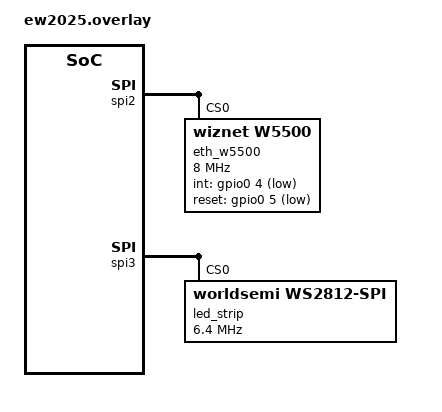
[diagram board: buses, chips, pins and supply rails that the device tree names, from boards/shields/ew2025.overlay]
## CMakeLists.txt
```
cmake_minimum_required(VERSION 3.20.0)

# ESP32-S3-DevkitC is the default board
set(BOARD
    "esp32s3_devkitc/esp32s3/procpu"
    CACHE
    STRING
    "Board for the Zephyr application"
)

# Disable -Werror in TF-PSA-Crypto (Zephyr 4.4+): upstream stubs trip
# -Wunused-parameter under the GCC 14.3 shipped with Zephyr SDK 1.0.1.
set(TF_PSA_CRYPTO_FATAL_WARNINGS OFF CACHE BOOL "" FORCE)

find_package(Zephyr REQUIRED HINTS $ENV{ZEPHYR_BASE})

project(mender-mcu-integration)

target_sources(app PRIVATE
    src/main.c
    src/utils/netup.c
    src/utils/certs.c
)

target_include_directories(app PUBLIC
    src
)

if(CONFIG_MENDER_APP_NOOP_UPDATE_MODULE MATCHES "y")
    target_sources(app PRIVATE src/modules/noop-update-module.c)
endif()

option(BUILD_INTEGRATION_TESTS "Enable integration tests" OFF)

if(BUILD_INTEGRATION_TESTS)
    target_compile_definitions(app PRIVATE BUILD_INTEGRATION_TESTS)
    target_include_directories(app PUBLIC tests/integration/src)
    target_sources(app PRIVATE tests/integration/src/modules/test-update-module.c)
    target_sources(app PRIVATE tests/integration/src/callbacks.c)
endif()

# Install certificates if a hosted Mender server is selected
if (CONFIG_MENDER_SERVER_HOST_US OR CONFIG_MENDER_SERVER_HOST_EU)
    # Links to certificates used for hosted Mender US
    if (CONFIG_MENDER_SERVER_HOST_US)
        set(PRIMARY_CERTIFICATE_LINK "https://docs.mender.io/releases/certs/AmazonRootCA1.der")
        set(PRIMARY_CERTIFICATE_SHA256 "8ecde6884f3d87b1125ba31ac3fcb13d7016de7f57cc904fe1cb97c6ae98196e")

        set(SECONDARY_CERTIFICATE_LINK "https://docs.mender.io/releases/certs/GoogleTrustServicesR4.der")
        set(SECONDARY_CERTIFICATE_SHA256 "349dfa4058c5e263123b398ae795573c4e1313c83fe68f93556cd5e8031b3c7d")
    # Links to certificates used for hosted Mender EU
    elseif (CONFIG_MENDER_SERVER_HOST_EU)
        set(PRIMARY_CERTIFICATE_LINK "https://docs.mender.io/releases/certs/isrgrootx1.der")
        set(PRIMARY_CERTIFICATE_SHA256 "96bcec06264976f37460779acf28c5a7cfe8a3c0aae11a8ffcee05c0bddf08c6")

        set(SECONDARY_CERTIFICATE_LINK "https://docs.mender.io/releases/certs/GoogleTrustServicesR4.der")
        set(SECONDARY_CERTIFICATE_SHA256 "349dfa4058c5e263123b398ae795573c4e1313c83fe68f93556cd5e8031b3c7d")
    endif()

    set(PRIMARY_CERTIFICATE "${CMAKE_CURRENT_BINARY_DIR}/PrimaryCertificate.cer")
    file(DOWNLOAD
        ${PRIMARY_CERTIFICATE_LINK} ${PRIMARY_CERTIFICATE}
        EXPECTED_HASH SHA256=${PRIMARY_CERTIFICATE_SHA256}
    )

    set(SECONDARY_CERTIFICATE "${CMAKE_CURRENT_BINARY_DIR}/SecondaryCertificate.cer")
    file(DOWNLOAD
        ${SECONDARY_CERTIFICATE_LINK} ${SECONDARY_CERTIFICATE}
        EXPECTED_HASH SHA256=${SECONDARY_CERTIFICATE_SHA256}
    )

elseif(CONFIG_MENDER_SERVER_HOST_ON_PREM)
    if (NOT CONFIG_MENDER_APP_SERVER_HOST_ON_PREM_CERT STREQUAL "")
        set(PRIMARY_CERTIFICATE "${CMAKE_CURRENT_SOURCE_DIR}/${CONFIG_MENDER_APP_SERVER_HOST_ON_PREM_CERT}")
    else()
        message(WARNING "CONFIG_MENDER_SERVER_HOST_ON_PREM without CONFIG_MENDER_APP_SERVER_HOST_ON_PREM_CERT results in a broken configuration")
    endif()
else()
    # This is an impossible configuration, MENDER_SERVER_HOST is a choice
    message(WARNING "Either CONFIG_MENDER_SERVER_HOST_US, CONFIG_MENDER_SERVER_HOST_EU or CONFIG_MENDER_SERVER_HOST_ON_PREM needs to be selected")
endif()

if (PRIMARY_CERTIFICATE)
    add_custom_target(certificate_one DEPENDS ${PRIMARY_CERTIFICATE})
    add_dependencies(app certificate_one)

    generate_inc_file_for_target(certificate_one
        ${PRIMARY_CERTIFICATE}
        "${ZEPHYR_BINARY_DIR}/include/generated/PrimaryCertificate.cer.inc"
    )
endif()

if (SECONDARY_CERTIFICATE)
    add_custom_target(certificate_two DEPENDS ${SECONDARY_CERTIFICATE})
    add_dependencies(app certificate_two)

    generate_inc_file_for_target(certificate_two
        ${SECONDARY_CERTIFICATE}
        "${ZEPHYR_BINARY_DIR}/include/generated/SecondaryCertificate.cer.inc"
    )
endif()

file(COPY_FILE "config-tls-mender.h" "${ZEPHYR_BINARY_DIR}/include/generated/config-tls-mender.h")
```

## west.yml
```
manifest:

  remotes:
    - name: zephyrproject-rtos
      url-base: https://github.com/zephyrproject-rtos
    - name: mender
      url-base: https://github.com/mendersoftware

  projects:
    - name: zephyr
      remote: zephyrproject-rtos
      revision: v4.4.0
      import:
        name-allowlist:
          - cmsis_6
          - mbedtls
          - mcuboot
          - hal_nxp
          - hal_nordic
          - hal_espressif
          - tf-psa-crypto
    - name: mender-mcu
      remote: mender
      revision: main
      path: modules/mender-mcu
      import: true

  self:
    path: mender-mcu-integration
```

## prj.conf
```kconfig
####################################
# Tenant Token - DO NOT COMMIT
####################################
CONFIG_MENDER_SERVER_TENANT_TOKEN="..."


####################################
# Mender MCU
####################################
CONFIG_MENDER_MCU_CLIENT=y
CONFIG_MENDER_LOG_LEVEL_INF=y
# Demo polling intervals
CONFIG_MENDER_CLIENT_UPDATE_POLL_INTERVAL=30
CONFIG_MENDER_CLIENT_INVENTORY_REFRESH_INTERVAL=60
CONFIG_MENDER_RETRY_ERROR_BACKOFF=5
CONFIG_MENDER_RETRY_ERROR_MAX_BACKOFF=15
# Mender Server selection - sets the Server URL and adds the certificates
CONFIG_MENDER_SERVER_HOST_US=y
# For easier demo, use partition with storage label from Devicetree
CONFIG_MENDER_STORAGE_PARTITION_STORAGE_PARTITION=y


####################################
# Mbed-TLS module configuration
#
# NOTE wrt Ciphersuite configuration for Hosted Mender:
# We use two certificates, one for API calls and one for the Artifacts download:
# -> Amazon Root CA 1 certificate with Signature Algorithm: sha256WithRSAEncryption
# -> Google Trust Services GTS Root R4 with Signature Algorithm: ecdsa-with-SHA384
####################################
CONFIG_MBEDTLS=y
# In Zephyr 4.3 MBEDTLS_USE_PSA_CRYPTO auto-enables when
# MBEDTLS_PSA_CRYPTO_C is on, which makes the prerequisite checks for
# ECDHE_* key exchanges look for PSA_WANT_ALG_ECDH instead of MBEDTLS_ECDH_C.
# Mender-MCU is still on the legacy mbedtls API path, so keep PSA off.
CONFIG_MBEDTLS_USE_PSA_CRYPTO=n
# mbedtls pk.c calls these helpers regardless of USE_PSA_CRYPTO; their
# declarations in psa_util_internal.h are guarded by this Kconfig.
CONFIG_PSA_WANT_KEY_TYPE_ECC_PUBLIC_KEY=y
CONFIG_MBEDTLS_KEY_EXCHANGE_ECDHE_PSK_ENABLED=y
CONFIG_MBEDTLS_KEY_EXCHANGE_ECDHE_RSA_ENABLED=y
CONFIG_MBEDTLS_KEY_EXCHANGE_ECDHE_ECDSA_ENABLED=y
CONFIG_MBEDTLS_ECDH_C=y
CONFIG_MBEDTLS_ECDSA_C=y
CONFIG_MBEDTLS_ECP_C=y
# TODO: SECP256R1 was used as a sane default for the autogenerated key feature. Can we remove
# and reuse instead SECP384R1 (already required for the Google cert)?
CONFIG_MBEDTLS_ECP_DP_SECP256R1_ENABLED=y
CONFIG_MBEDTLS_ECP_DP_SECP384R1_ENABLED=y
CONFIG_MBEDTLS_ECP_NIST_OPTIM=y
CONFIG_MBEDTLS_CIPHER_CCM_ENABLED=y
CONFIG_MBEDTLS_CIPHER_GCM_ENABLED=y
CONFIG_MBEDTLS_SHA384=y
CONFIG_MBEDTLS_GENPRIME_ENABLED=y
CONFIG_MBEDTLS_PEM_CERTIFICATE_FORMAT=y
CONFIG_MBEDTLS_SERVER_NAME_INDICATION=y
CONFIG_MBEDTLS_PK_WRITE_C=y
CONFIG_MBEDTLS_SSL_MAX_CONTENT_LEN=16384
CONFIG_MBEDTLS_ENABLE_HEAP=y
CONFIG_MBEDTLS_HEAP_SIZE=40960
CONFIG_MBEDTLS_ENTROPY_POLL_ZEPHYR=y
CONFIG_MBEDTLS_ENTROPY_C=y

# We need to use our own extension to the config file to limit the size of the
# TLS output buffer. See the config and/or MEN-7807 for details.
CONFIG_MBEDTLS_USER_CONFIG_ENABLE=y
CONFIG_MBEDTLS_USER_CONFIG_FILE="config-tls-mender.h"


####################################
# Zephyr OS general configuration
####################################
# Default is 1024
# https://docs.zephyrproject.org/latest/kconfig.html#CONFIG_MAIN_STACK_SIZE
CONFIG_MAIN_STACK_SIZE=2048
# Default is 1024
# https://docs.zephyrproject.org/latest/kconfig.html#CONFIG_SYSTEM_WORKQUEUE_STACK_SIZE
CONFIG_SYSTEM_WORKQUEUE_STACK_SIZE=4096
# Default is 4
# https://docs.zephyrproject.org/latest/kconfig.html#CONFIG_ZVFS_OPEN_MAX
CONFIG_ZVFS_OPEN_MAX=5

####################################
# Zephyr logging
####################################
CONFIG_LOG=y
CONFIG_LOG_BUFFER_SIZE=2048
# CONFIG_LOG_MODE_IMMEDIATE=y
CONFIG_LOG_MODE_DEFERRED=y
# flush oldest messages in the buffer; this will print the newest messages in case of buffer overflow
CONFIG_LOG_MODE_OVERFLOW=y
# speed up the logging; size of the executable the victim (use for testing only)
CONFIG_LOG_SPEED=y
# Direct dependency for LOG_OUTPUT_FORMAT_ISO8601_TIMESTAMP
CONFIG_POSIX_C_LANG_SUPPORT_R=y
# use ISO 8601 timestamp format in logs (required by the Mender Deployment Logs feature)
CONFIG_LOG_OUTPUT_FORMAT_ISO8601_TIMESTAMP=y

####################################
# Networking
####################################
# IP / DHCP
CONFIG_NET_IPV6=n
CONFIG_NET_IPV4=y
CONFIG_NET_DHCPV4=y
# Network event notifications
CONFIG_NET_MGMT=y
CONFIG_NET_MGMT_EVENT=y
CONFIG_NET_MGMT_EVENT_STACK_SIZE=2048
# Enable TLS
CONFIG_NET_SOCKETS_SOCKOPT_TLS=y
CONFIG_NET_SOCKETS_TLS_MAX_CONTEXTS=2
CONFIG_NET_MAX_CONN=16
# DNS configuration
CONFIG_DNS_RESOLVER_ADDITIONAL_BUF_CTR=5
CONFIG_DNS_RESOLVER_ADDITIONAL_QUERIES=2
CONFIG_DNS_RESOLVER_MAX_SERVERS=2
CONFIG_DNS_NUM_CONCUR_QUERIES=5
# Avoid timeouts before receiving SYN-ACK from peer at default value (3000)
CONFIG_NET_SOCKETS_CONNECT_TIMEOUT=5000

####################################
# Developer zone
####################################
# Coredumps
# https://docs.zephyrproject.org/latest/services/debugging/coredump.html
# CONFIG_DEBUG_COREDUMP=y
# CONFIG_DEBUG_COREDUMP_BACKEND_LOGGING=y
# CONFIG_DEBUG_COREDUMP_MEMORY_DUMP_LINKER_RAM=n
# CONFIG_DEBUG_COREDUMP_MEMORY_DUMP_MIN=y
# Asserts
# https://docs.zephyrproject.org/latest/kconfig.html#CONFIG_ASSERT_VERBOSE
CONFIG_ASSERT=y
# CONFIG_ASSERT_VERBOSE=y
# CONFIG_PICOLIBC_USE_MODULE=y
# CONFIG_PICOLIBC_ASSERT_VERBOSE=y
# Useful logs from networking subsystem
CONFIG_NET_LOG=y

# Let's prevent surprises caused by type mismatches and other similar things
# only causing compilation warnings, but potentially leading to fatal issues.
CONFIG_COMPILER_WARNINGS_AS_ERRORS=y

# When enabled it adds ~3k overhead and causes sys_reboot to fail
# because of stricter spinlock validation in Zephyr 4.2.0
CONFIG_SPIN_VALIDATE=n
```

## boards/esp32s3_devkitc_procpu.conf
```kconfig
CONFIG_NET_L2_ETHERNET=y
CONFIG_ESP32_WIFI_STA_AUTO_DHCPV4=y
CONFIG_ESP32_WIFI_STA_RECONNECT=y
CONFIG_ESP32_WIFI_STA_SCAN_ALL=y
CONFIG_WIFI=y
CONFIG_WIFI_LOG_LEVEL_INF=y
CONFIG_NET_DHCPV4_LOG_LEVEL_INF=y
CONFIG_LOG_MODE_IMMEDIATE=y

# Restore the default for Mender storage
# We set to use the storage label for the rest of the boards in this sample application,
# but for the ESP32S3 we do provide an overlay to use the mender label, which is what
# we recommend to users (and set as default in mender-mcu Kconfig)
CONFIG_MENDER_STORAGE_PARTITION_STORAGE_PARTITION=n
CONFIG_MENDER_STORAGE_PARTITION_MENDER_PARTITION=y
```

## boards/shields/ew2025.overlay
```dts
/* This overlay is based on ARCELI W5500 ETH,
 * changing the pinout for the WIZNet produced shield.
 *
 * See schematic at:
 * https://docs.wiznet.io/Product/Open-Source-Hardware/w5500_ethernet_shield#technical-reference
 */

#include <zephyr/dt-bindings/led/led.h>

&spi2 {
	status = "okay";

	eth_w5500: eth_w5500@0 {
        compatible = "wiznet,w5500";
		reg = <0x0>;
        spi-max-frequency = <8000000>;
		int-gpios = <&gpio0 4 GPIO_ACTIVE_LOW>;
		reset-gpios = <&gpio0 5 GPIO_ACTIVE_LOW>;

		zephyr-random-mac-address;

		/* MAC address is set at runtime from device ID */
		status = "okay";
	};
};

&spi3 {
	/* Workaround to support WS2812 driver */
	line-idle-low;
	status = "okay";

	led_strip: ws2812@0 {
		compatible = "worldsemi,ws2812-spi";
		status = "okay";

		reg = <0>;
		spi-max-frequency = <6400000>;

		chain-length = <64>;
		spi-cpha;
		spi-one-frame = <0xf0>;
		spi-zero-frame = <0xc0>;
		color-mapping = <LED_COLOR_ID_GREEN
							LED_COLOR_ID_RED
							LED_COLOR_ID_BLUE>;
	};
};

/ {
	aliases {
			led-strip = &led_strip;
	};
};
```

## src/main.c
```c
// Copyright 2024 Northern.tech AS
//
//    Licensed under the Apache License, Version 2.0 (the "License");
//    you may not use this file except in compliance with the License.
//    You may obtain a copy of the License at
//
//        http://www.apache.org/licenses/LICENSE-2.0
//
//    Unless required by applicable law or agreed to in writing, software
//    distributed under the License is distributed on an "AS IS" BASIS,
//    WITHOUT WARRANTIES OR CONDITIONS OF ANY KIND, either express or implied.
//    See the License for the specific language governing permissions and
//    limitations under the License.

#include <zephyr/logging/log.h>
LOG_MODULE_REGISTER(mender_app, LOG_LEVEL_DBG);

#include "utils/callbacks.h"
#include "utils/netup.h"
#include "utils/certs.h"

#include <zephyr/kernel.h>
#include <zephyr/sys/reboot.h>

#include <mender/utils.h>
#include <mender/client.h>
#include <mender/inventory.h>

#ifdef BUILD_INTEGRATION_TESTS
#include "modules/test-update-module.h"
#include "test_definitions.h"
#endif /* BUILD_INTEGRATION_TESTS */

#ifdef CONFIG_MENDER_ZEPHYR_IMAGE_UPDATE_MODULE
#include <mender/zephyr-image-update-module.h>
#endif /* CONFIG_MENDER_ZEPHYR_IMAGE_UPDATE_MODULE */

#ifdef CONFIG_MENDER_APP_NOOP_UPDATE_MODULE
#include "modules/noop-update-module.h"
#endif /* CONFIG_MENDER_APP_NOOP_UPDATE_MODULE */

#ifdef CONFIG_MENDER_CLIENT_INVENTORY_DISABLE
#error Mender MCU integration app requires the inventory feature
#endif /* CONFIG_MENDER_CLIENT_INVENTORY_DISABLE */

MENDER_FUNC_WEAK mender_err_t
mender_network_connect_cb(void) {
    LOG_DBG("network_connect_cb");
    return MENDER_OK;
}

MENDER_FUNC_WEAK mender_err_t
mender_network_release_cb(void) {
    LOG_DBG("network_release_cb");
    return MENDER_OK;
}

MENDER_FUNC_WEAK mender_err_t
mender_deployment_status_cb(mender_deployment_status_t status, const char *desc) {
    LOG_DBG("deployment_status_cb: %s", desc);
    return MENDER_OK;
}

MENDER_FUNC_WEAK mender_err_t
mender_restart_cb(void) {
    LOG_DBG("restart_cb");

    sys_reboot(SYS_REBOOT_WARM);

    return MENDER_OK;
}

static char              mac_address[18] = { 0 };
static mender_identity_t mender_identity = { .name = "mac", .value = mac_address };

MENDER_FUNC_WEAK mender_err_t
mender_get_identity_cb(const mender_identity_t **identity) {
    LOG_DBG("get_identity_cb");
    if (NULL != identity) {
        *identity = &mender_identity;
        return MENDER_OK;
    }
    return MENDER_FAIL;
}

static mender_err_t
persistent_inventory_cb(mender_keystore_t **keystore, uint8_t *keystore_len) {
    static mender_keystore_t inventory[] = { { .name = "App", .value = "mender-mcu-integration" } };
    *keystore                            = inventory;
    *keystore_len                        = 1;
    return MENDER_OK;
}

int
main(void) {
    printf("Version: standard-v2 %s\n", CONFIG_BOARD_TARGET);

    netup_wait_for_network();

    netup_get_mac_address(mender_identity.value);

    certs_add_credentials();

    /* Initialize mender-client */
    mender_client_config_t    mender_client_config    = { .device_type = CONFIG_MENDER_DEVICE_TYPE, .recommissioning = false };
    mender_client_callbacks_t mender_client_callbacks = { .network_connect        = mender_network_connect_cb,
                                                          .network_release        = mender_network_release_cb,
                                                          .deployment_status      = mender_deployment_status_cb,
                                                          .restart                = mender_restart_cb,
                                                          .get_identity           = mender_get_identity_cb,
                                                          .get_user_provided_keys = NULL };

    LOG_INF("Initializing Mender Client with:");
    LOG_INF("   Device type:   '%s'", mender_client_config.device_type);
    //LOG_INF("   Device Tier:   '%s'", mender_client_config.device_tier);
    LOG_INF("   Identity:      '{\"%s\": \"%s\"}'", mender_identity.name, mender_identity.value);

    if (MENDER_OK != mender_client_init(&mender_client_config, &mender_client_callbacks)) {
        LOG_ERR("Failed to initialize the client");
        goto END;
    }
    LOG_INF("Mender client initialized");

#ifdef CONFIG_MENDER_ZEPHYR_IMAGE_UPDATE_MODULE
    if (MENDER_OK != mender_zephyr_image_register_update_module()) {
        LOG_ERR("Failed to register the zephyr-image Update Module");
        goto END;
    }
    LOG_INF("Update Module 'zephyr-image' initialized");
#endif /* CONFIG_MENDER_ZEPHYR_IMAGE_UPDATE_MODULE */

#ifdef CONFIG_MENDER_APP_NOOP_UPDATE_MODULE
    if (MENDER_OK != noop_update_module_register()) {
        LOG_ERR("Failed to register the noop Update Module");
        goto END;
    }
    LOG_INF("Update Module 'noop-update' initialized");
#endif /* CONFIG_MENDER_APP_NOOP_UPDATE_MODULE */

#ifdef BUILD_INTEGRATION_TESTS
    if (MENDER_OK != test_update_module_register()) {
        LOG_ERR("Failed to register the test Update Module");
        goto END;
    }
    LOG_INF("Update Module 'test-update' initialized");
#endif /* BUILD_INTEGRATION_TESTS */

    if (MENDER_OK != mender_inventory_add_callback(persistent_inventory_cb, true)) {
        LOG_ERR("Failed to add inventory callback");
        goto END;
    }
    LOG_INF("Mender inventory callback added");

    /* Finally activate mender client */
    if (MENDER_OK != mender_client_activate()) {
        LOG_ERR("Unable to activate the client");
        goto END;
    }
    LOG_INF("Mender client activated and running!");

END:
    k_sleep(K_FOREVER);

    return 0;
}
```
